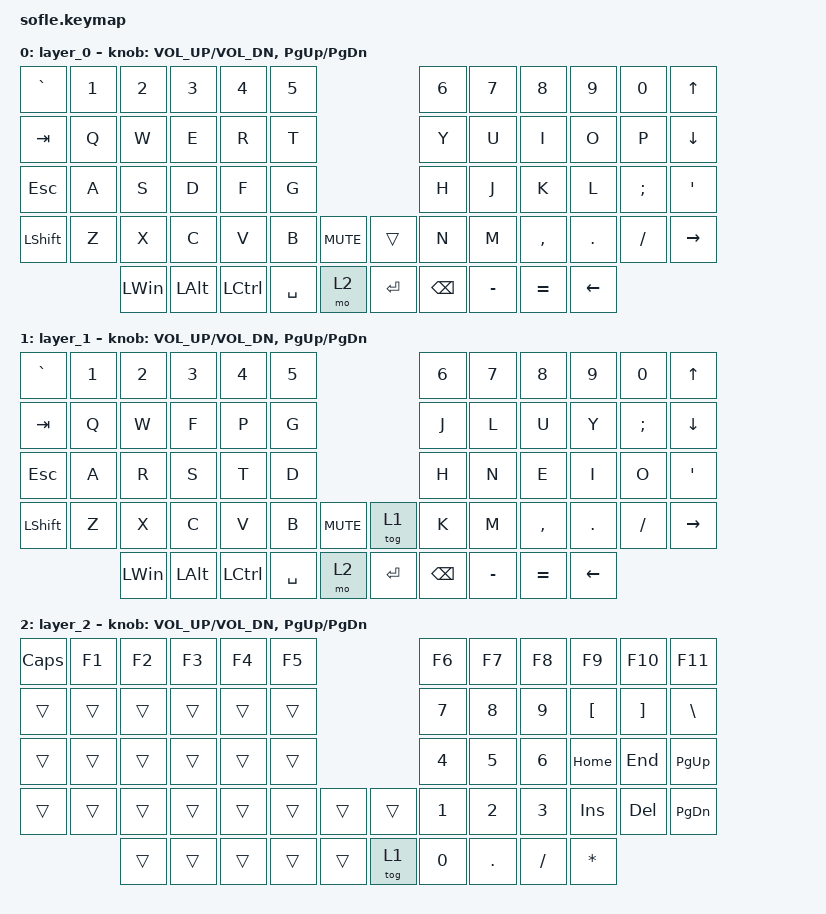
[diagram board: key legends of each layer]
/*
 * Copyright (c) 2020 The ZMK Contributors
 *
 * SPDX-License-Identifier: MIT
 */

#include <behaviors.dtsi>
#include <dt-bindings/zmk/bt.h>
#include <dt-bindings/zmk/ext_power.h>
#include <dt-bindings/zmk/keys.h>
#include <dt-bindings/zmk/rgb.h>

/ {
    keymap {
        compatible = "zmk,keymap";

        layer_0 {
            bindings = <
&kp GRAVE       &kp NUMBER_1  &kp NUMBER_2  &kp NUMBER_3  &kp NUMBER_4  &kp NUMBER_5                          &kp NUMBER_6  &kp NUMBER_7  &kp NUMBER_8  &kp NUMBER_9  &kp N0         &kp UP 
&kp TAB         &kp Q         &kp W         &kp E         &kp R         &kp T                                 &kp Y         &kp U         &kp I         &kp O         &kp P          &kp DOWN
&kp ESCAPE      &kp A         &kp S         &kp D         &kp F         &kp G                                 &kp H         &kp J         &kp K         &kp L         &kp SEMICOLON  &kp SQT
&kp LEFT_SHIFT  &kp Z         &kp X         &kp C         &kp V         &kp B         &kp C_MUTE    &trans    &kp N         &kp M         &kp COMMA     &kp PERIOD    &kp SLASH      &kp RIGHT 
                              &kp LEFT_WIN  &kp LEFT_ALT  &kp LCTRL     &kp SPACE     &mo 2         &kp ENTER  &kp BACKSPACE  &kp MINUS   &kp EQUAL     &kp LEFT                   
            >;

            sensor-bindings = <&inc_dec_kp C_VOL_UP C_VOL_DN &inc_dec_kp PG_UP PG_DN>;

        };

        layer_1 {
            bindings = <
&kp GRAVE       &kp NUMBER_1  &kp NUMBER_2  &kp NUMBER_3  &kp NUMBER_4  &kp NUMBER_5                          &kp NUMBER_6  &kp NUMBER_7  &kp NUMBER_8  &kp NUMBER_9  &kp N0         &kp UP 
&kp TAB         &kp Q         &kp W         &kp F         &kp P         &kp G                                 &kp J         &kp L         &kp U         &kp Y         &kp SEMICOLON          &kp DOWN
&kp ESCAPE      &kp A         &kp R         &kp S         &kp T         &kp D                                 &kp H         &kp N         &kp E         &kp I         &kp O  &kp SQT
&kp LEFT_SHIFT  &kp Z         &kp X         &kp C         &kp V         &kp B         &kp K_MUTE    &tog 1    &kp K         &kp M         &kp COMMA     &kp PERIOD    &kp SLASH      &kp RIGHT 
                              &kp LEFT_WIN  &kp LEFT_ALT  &kp LCTRL     &kp SPACE     &mo 2         &kp ENTER  &kp BACKSPACE  &kp MINUS   &kp EQUAL     &kp LEFT                   
            >;

            sensor-bindings = <&inc_dec_kp C_VOL_UP C_VOL_DN &inc_dec_kp PG_UP PG_DN>;

        };

        layer_2 {
            bindings = <
&kp CAPS  &kp F1  &kp F2  &kp F3  &kp F4  &kp F5                    &kp F6  &kp F7   &kp F8    &kp F9     &kp F10     &kp F11
&trans    &trans  &trans  &trans  &trans  &trans                    &kp N7  &kp N8   &kp N9    &kp LBKT   &kp RBKT    &kp BACKSLASH
&trans    &trans  &trans  &trans  &trans  &trans                    &kp N4  &kp N5   &kp N6    &kp HOME  &kp END  &kp PAGE_UP
&trans    &trans  &trans  &trans  &trans  &trans  &trans    &trans  &kp N1  &kp N2   &kp N3    &kp INSERT  &kp DELETE  &kp PAGE_DOWN
                  &trans  &trans  &trans  &trans  &trans    &tog 1  &kp N0  &kp DOT  &kp FSLH  &kp ASTRK
            >;

            sensor-bindings = <&inc_dec_kp C_VOL_UP C_VOL_DN &inc_dec_kp PG_UP PG_DN>;

        };
    };
};

